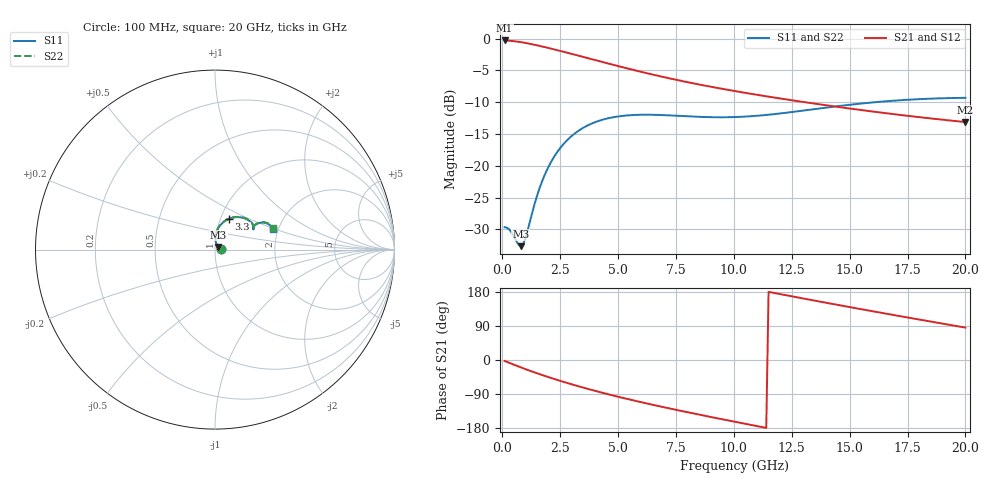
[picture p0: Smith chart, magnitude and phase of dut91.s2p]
! Touchstone file exported from HFSS 2024.1.0
!  File:  C:/UserFiles/LocalFiles/RDL_TSV_Batchsim/temp_RDL_TSV_91_1779417214.aedt
!  Generated:  10:53:55 AM May 22, 2026
!  Design:  RDL_TSV
!  Project:  temp_RDL_TSV_91_1779417214
!  Setup:  Setup1
!  Solution:  Sweep
! Variables:
!  dtsv = 14.92um
!  hbump = 3um
!  htsv = 79.55um
!  ldown = 595.51um
!  lrdl = 509.05um
!  p = 40
!  p1 = 51.39um
!  rhole = 10um
!  subl = 3822.73um
!  t = 450um
!  tdown = 2.01um
!  trdl = 4.38um
!  viad = 10um
!  wdown = 11.53um
!  wrdl = 23.72um
!  xbump = 18um
# GHz S MA R 50.000000
! Terminal data exported
! Port[1] = TM1_1_T1
! Port[2] = TM1_4_T1
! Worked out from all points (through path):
!   200 points, 100 MHz to 20 GHz, reference 50 ohm
!   highest |S21| = -0.30 dB at 100 MHz (marker M1); lowest = -13.1 dB at 20 GHz (marker M2)
!   group delay of S21, straight-line fit = 35.9 ps
!   lowest |S11| = -32.6 dB at 800 MHz (marker M3), VSWR 1.05, Z = 51.8 + j1.54 ohm
!   |S11| at or under -10 dB: start of sweep to 16.1 GHz
!   |S22| runs from -32.6 to -9.2 dB; largest |S21 - S12| = 6.8e-14
!   S11 on the Smith chart (normalised r, x): 100 MHz: 1.07, +0.00; 3.3 GHz: 1.10, +0.39; 20 GHz: 1.86, +0.49
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0.1  0.03293 2.3  0.9663 -2.5  0.9663 -2.5  0.03293 2.3
! Gamma 0 0 0 0
! Port Impedance 50 0 50 0
0.3  0.03159 5.8  0.9615 -7.5  0.9615 -7.5  0.03158 5.8
0.7  0.02403 27.8  0.9435 -17.1  0.9435 -17.1  0.02398 27.9
0.8  0.02335 39.4  0.9375 -19.5  0.9375 -19.5  0.02331 39.7
0.9  0.02425 52.3  0.931 -21.8  0.931 -21.8  0.02423 52.6
1  0.02694 64.1  0.9241 -24.1  0.9241 -24.1  0.02697 64.5
1.5  0.05803 87.7  0.8851 -35.1  0.8851 -35.1  0.0583 88.0
2  0.09856 85.4  0.8428 -45.3  0.8428 -45.3  0.09906 85.6
2.6  0.145 76.5  0.7914 -56.9  0.7914 -56.9  0.1458 76.6
3.3  0.189 65.3  0.7331 -69.5  0.7331 -69.5  0.19 65.5
3.5  0.1992 62.3  0.717 -73.0  0.717 -73.0  0.2002 62.5
4.3  0.2295 51.6  0.656 -86.1  0.656 -86.1  0.2308 51.8
5.1  0.2457 43.0  0.6012 -98.4  0.6012 -98.4  0.2471 43.2
5.9  0.2517 36.5  0.5529 -110.0  0.5529 -110.0  0.2532 36.7
6.8  0.2509 31.5  0.506 -122.3  0.506 -122.3  0.2525 31.7
8.3  0.2435 27.9  0.4428 -141.6  0.4428 -141.6  0.2451 28.1
10.1  0.2418 28.9  0.3851 -163.7  0.3851 -163.7  0.2435 29.1
11.6  0.2531 30.8  0.3471 178.5  0.3471 178.5  0.2549 31.1
13.4  0.2776 31.5  0.3097 157.7  0.3097 157.7  0.2798 31.7
15  0.3017 30.0  0.282 139.6  0.282 139.6  0.3041 30.2
16.7  0.3229 26.9  0.2573 120.9  0.2573 120.9  0.3256 27.2
20  0.3421 19.9  0.2207 85.5  0.2207 85.5  0.3453 20.2
